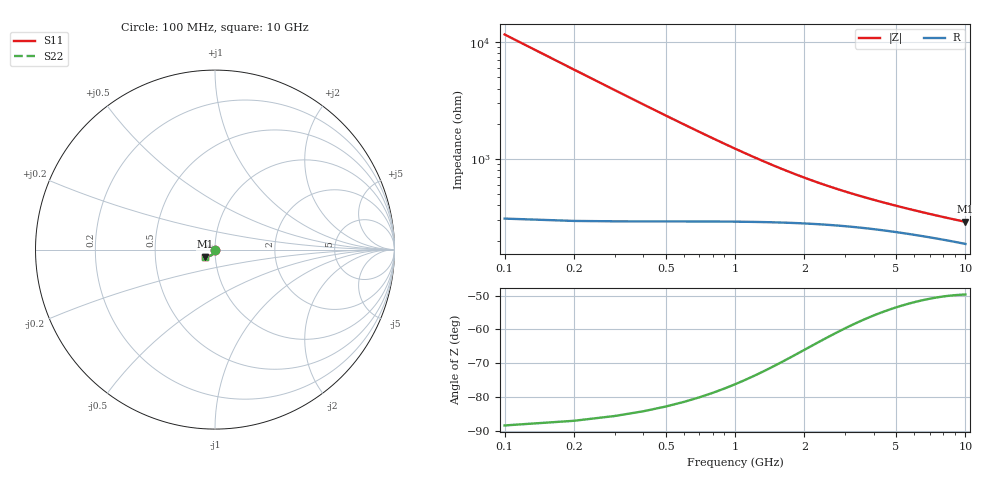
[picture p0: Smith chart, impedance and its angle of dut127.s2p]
! Touchstone file exported from HFSS 2024.1.0
!  File:  C:/UserFiles/LocalFiles/RDL_TSV_Batchsim/temp_TSV1_127_1778753584.aedt
!  Generated:  06:17:54 PM May 14, 2026
!  Design:  TSV1
!  Project:  temp_TSV1_127_1778753584
!  Setup:  Setup1
!  Solution:  Sweep
! Variables:
!  dtsv = 18.41um
!  hbump = 3um
!  htsv = 61.29um
!  lrdl = 252.1521522um
!  p = 40
!  p1 = 47.73um
!  t = 500um
!  trdl = 3um
!  wrdl = 24.89489489um
# GHz S MA R 50.000000
! Terminal data exported
! Port[1] = TSV22_T1
! Port[2] = TSV22_T2
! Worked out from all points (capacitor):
!   100 points, 100 MHz to 10 GHz, reference 50 ohm
!   read as one part in shunt: C = 137 fF near 100 MHz
!   lowest |Z| = 290 ohm at 10 GHz (marker M1)
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0.1  0.001914 -89.7  0.9999 -0.1  0.9999 -0.1  0.001914 -89.7
! Gamma 0 0 0 0
! Port Impedance 50 0 50 0
0.2  0.00382 -92.4  0.9997 -0.3  0.9997 -0.3  0.00382 -92.4
0.3  0.005712 -94.4  0.9994 -0.4  0.9994 -0.4  0.005712 -94.4
0.4  0.007585 -96.2  0.999 -0.5  0.999 -0.5  0.007585 -96.2
0.5  0.009432 -98.0  0.9985 -0.7  0.9985 -0.7  0.009432 -98.0
0.6  0.01125 -99.6  0.9979 -0.8  0.9979 -0.8  0.01125 -99.6
0.7  0.01303 -101.3  0.9973 -0.9  0.9973 -0.9  0.01303 -101.3
0.8  0.01477 -102.9  0.9965 -1.0  0.9965 -1.0  0.01477 -102.9
0.9  0.01646 -104.4  0.9957 -1.1  0.9957 -1.1  0.01646 -104.4
1.1  0.01971 -107.4  0.9939 -1.4  0.9939 -1.4  0.01971 -107.4
1.4  0.0242 -111.4  0.9909 -1.6  0.9909 -1.6  0.0242 -111.4
1.6  0.02694 -113.9  0.9888 -1.8  0.9888 -1.8  0.02694 -113.9
1.8  0.02947 -116.2  0.9868 -2.0  0.9868 -2.0  0.02947 -116.2
2.1  0.03292 -119.3  0.9838 -2.2  0.9838 -2.2  0.03292 -119.3
2.5  0.03692 -122.9  0.98 -2.4  0.98 -2.4  0.03692 -122.9
2.9  0.04037 -125.8  0.9765 -2.6  0.9765 -2.6  0.04037 -125.8
3.4  0.04406 -128.9  0.9726 -2.8  0.9726 -2.8  0.04406 -128.9
4.2  0.04893 -132.6  0.9672 -3.1  0.9672 -3.1  0.04893 -132.6
5.1  0.05338 -135.7  0.9621 -3.4  0.9621 -3.4  0.05338 -135.7
6.7  0.0596 -139.5  0.9551 -3.9  0.9551 -3.9  0.0596 -139.5
8.4  0.06464 -142.4  0.9494 -4.3  0.9494 -4.3  0.06464 -142.4
10  0.0683 -144.3  0.9454 -4.7  0.9454 -4.7  0.0683 -144.3
